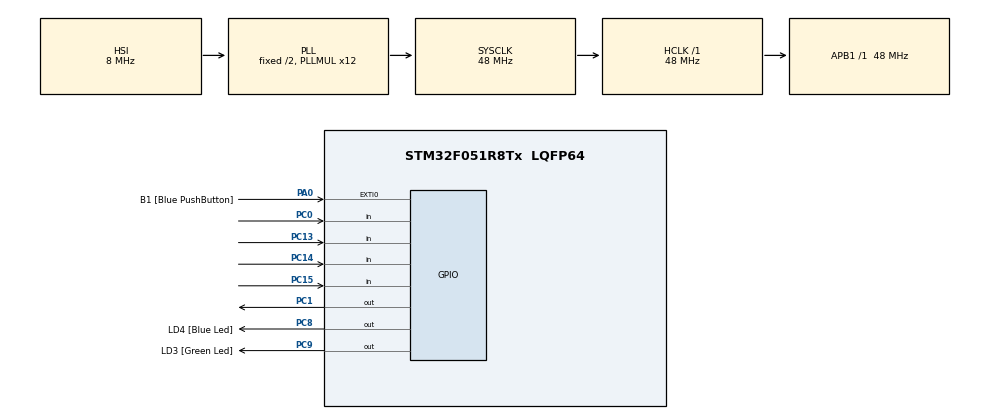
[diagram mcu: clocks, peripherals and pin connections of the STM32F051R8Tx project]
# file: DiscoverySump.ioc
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FREERTOS.Tasks01=defaultTask,0,128,StartDefaultTask,Default,NULL,Dynamic,NULL,NULL;sumpPumpTask,0,128,sumpTask,Default,NULL,Dynamic,NULL,NULL
Mcu.Family=STM32F0
Mcu.Name=STM32F051R8Tx
Mcu.Package=LQFP64
NVIC.TIM2_IRQn=true\:0\:0\:false\:false\:true\:false\:false\:true
NVIC.TimeBase=TIM2_IRQn
NVIC.TimeBaseIP=TIM2
PA0.GPIO_Label=B1 [Blue PushButton]
PA0.GPIO_ModeDefaultEXTI=GPIO_MODE_EVT_RISING
PA0.Signal=GPXTI0
PA13.GPIO_Label=SWDIO
PA13.Mode=Serial_Wire
PA13.Signal=SYS_SWDIO
PA14.GPIO_Label=SWCLK
PA14.Mode=Serial_Wire
PA14.Signal=SYS_SWCLK
PC0.GPIO_PuPd=GPIO_PULLUP
PC0.Signal=GPIO_Input
PC1.Signal=GPIO_Output
PC13.GPIO_PuPd=GPIO_PULLUP
PC13.Signal=GPIO_Input
PC14-OSC32_IN.GPIO_PuPd=GPIO_PULLUP
PC14-OSC32_IN.Signal=GPIO_Input
PC15-OSC32_OUT.GPIO_PuPd=GPIO_PULLUP
PC15-OSC32_OUT.Signal=GPIO_Input
PC8.GPIO_Label=LD4 [Blue Led]
PC8.Signal=GPIO_Output
PC9.GPIO_Label=LD3 [Green Led]
PC9.Signal=GPIO_Output
ProjectManager.HeapSize=0x200
ProjectManager.StackSize=0x400
ProjectManager.TargetToolchain=STM32CubeIDE
RCC.AHBFreq_Value=48000000
RCC.APB1Freq_Value=48000000
RCC.APB1TimFreq_Value=48000000
RCC.HCLKFreq_Value=48000000
RCC.PLLMUL=RCC_PLL_MUL12
RCC.SYSCLKFreq_VALUE=48000000
RCC.SYSCLKSource=RCC_SYSCLKSOURCE_PLLCLK
VP_FREERTOS_VS_CMSIS_V1.Mode=CMSIS_V1
VP_SYS_VS_tim2.Mode=TIM2
board=STM32F0DISCOVERY

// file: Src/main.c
/* USER CODE BEGIN Header */
/**
 ******************************************************************************
 * @file           : main.c
 * @brief          : Main program body
 ******************************************************************************
 * @attention
 *
 * <h2><center>&copy; Copyright (c) 2019 STMicroelectronics.
 * All rights reserved.</center></h2>
 *
 * This software component is licensed by ST under BSD 3-Clause license,
 * the "License"; You may not use this file except in compliance with the
 * License. You may obtain a copy of the License at:
 *                        opensource.org/licenses/BSD-3-Clause
 *
 * Copyright (c) 2019 Michael McCormack.
 * All rights reserved.
 *
 * This software component is licensed by Michael McCOrmack under BSD
 * 3-Clause license, the "License"; You may not use this file except in
 * compliance with the License.
 *
 * BSD 3-Clause license:
 *
 * Redistribution and use in source and binary forms, with or without
 * modification, are permitted provided that the following conditions are met:
 * 1. Redistributions of source code must retain the above copyright notice,
 *    this list of conditions and the following disclaimer.
 * 2. Redistributions in binary form must reproduce the above copyright
 *    notice, this list of conditions and the following disclaimer in the
 *    documentation and/or other materials provided with the distribution.
 * 3. Neither the name of the copyright holder nor the names of its
 *    contributors may be used to endorse or promote products derived from this
 *    software without specific prior written permission.
 * THIS SOFTWARE IS PROVIDED BY THE COPYRIGHT HOLDERS AND CONTRIBUTORS "AS IS"
 * AND ANY EXPRESS OR IMPLIED WARRANTIES, INCLUDING, BUT NOT LIMITED TO, THE
 * IMPLIED WARRANTIES OF MERCHANTABILITY AND FITNESS FOR A PARTICULAR PURPOSE
 * ARE DISCLAIMED. IN NO EVENT SHALL THE COPYRIGHT HOLDER OR CONTRIBUTORS BE
 * LIABLE FOR ANY DIRECT, INDIRECT, INCIDENTAL, SPECIAL, EXEMPLARY, OR
 * CONSEQUENTIAL DAMAGES (INCLUDING, BUT NOT LIMITED TO, PROCUREMENT OF
 * SUBSTITUTE GOODS OR SERVICES; LOSS OF USE, DATA, OR PROFITS; OR BUSINESS
 * INTERRUPTION) HOWEVER CAUSED AND ON ANY THEORY OF LIABILITY, WHETHER IN
 * CONTRACT, STRICT LIABILITY, OR TORT (INCLUDING NEGLIGENCE OR OTHERWISE)
 * ARISING IN ANY WAY OUT OF THE USE OF THIS SOFTWARE, EVEN IF ADVISED OF THE
 * POSSIBILITY OF SUCH DAMAGE.
 *
 *
 *
 * @details The function of this software is to control a sump pump which
 * removes water in the basement of my house.  As my house is built on granite
 * slab, there is not sufficient room to sink a normal 24" / 60cm deep sump
 * basin and commercial pump.  I have resorted to using a garden fountain
 * pump, a solid state relay, a STM32F0 discovery board, and, a set of level
 * sensors together with this firmware.
 *
 * Four sensors are used with this project at the moment which are two
 * pieces of the following hardware:
 *  1) Floats - these are mechanical devices that are moved by water and
 *     supply a switch closure.  Firmware assumes that these switches close
 *     to ground and provides a pullup on the input.
 *  2) CapSense - two electrodes are fixed in the Z dimension and when water
 *     covers them the capacitance between them changes.  These sensors used
 *     at time of publication provide push-pull output so no pullup is
 *     required, however, the code does provide one so that in the future
 *     if an open collector version is used the change might be simpler.
 *
 * Two pieces of each type of sensor are used, one of each type for a high
 * water turn on sensor and one for low level turn off.  The use of two types
 * of sensors was due to my skepticism about the reliability of these devices.
 *
 * While it is completely unnecessary for this project, I have chosen to use
 * FreeRTOS for this project.  I do a lot of work with it in my day job and
 * wanted to see how easy / hard it is to use it with the ST development IDE.
 * So far, all I can say is the obfuscation on the FreeRTOS system under a
 * CMSIS wrapper is not a feature, at least for me.
 *
 ******************************************************************************
 */
/* USER CODE END Header */

#include "main.h"
#include "cmsis_os.h"

/* USER CODE BEGIN PTD */
#define floatLevelHigh        ( HAL_GPIO_ReadPin(GPIOC, GPIO_PIN_13) )
#define floatLevelLow         ( HAL_GPIO_ReadPin(GPIOC, GPIO_PIN_14) )
#define capSenseHigh          ( HAL_GPIO_ReadPin(GPIOC, GPIO_PIN_15) )
#define capSenseLow           ( HAL_GPIO_ReadPin(GPIOC, GPIO_PIN_0)  )

#define FLOAT_UP              GPIO_PIN_SET
#define FLOAT_DOWN            GPIO_PIN_RESET
#define CAPSENSE_UP           GPIO_PIN_RESET
#define CAPSENSE_DOWN         GPIO_PIN_SET

#define sumpMotorControl(X)   HAL_GPIO_WritePin(GPIOC, GPIO_PIN_1, X)
#define PUMP_ON               GPIO_PIN_RESET
#define PUMP_OFF              GPIO_PIN_SET

#define greenLEDControl(X)    HAL_GPIO_WritePin(GPIOC, GPIO_PIN_9, X)
#define blueLEDControl(X)     HAL_GPIO_WritePin(GPIOC, GPIO_PIN_8, X)
#define LED_ON                GPIO_PIN_RESET
#define LED_OFF               GPIO_PIN_SET

// Values used to decide when to turn on the pump, rectally derived
#define MAX_WATER_COUNT 2000
#define ON_WATER_COUNT  1999
#define OFF_WATER_COUNT 1000

/* USER CODE END PTD */

osThreadId defaultTaskHandle;
osThreadId sumpPumpTaskHandle;
/* USER CODE BEGIN PV */
static int levelByFLoat = 0;                    // FLoat style level sensor counter for debouncing
static int levelByCapacatance = 0;              // Capacitive fork sensor counter for debouncing
static GPIO_PinState pumpOn = PUMP_OFF;         // Pump SSR control signal as a variable for debugging
static int blueLEDOn = 0;                       // Blue LED "
static int greenLEDOn = 0;                      // Green LED "
static int ledCount = 0;                        // Counter to use for LED blink rate
/* USER CODE END PV */

void SystemClock_Config(void);
static void MX_GPIO_Init(void);
void StartDefaultTask(void const * argument);
void sumpTask(void const * argument);

int main(void)
{

  /* MCU Configuration--------------------------------------------------------*/

  /* Reset of all peripherals, Initializes the Flash interface and the Systick. */
  HAL_Init();

  /* Configure the system clock */
  SystemClock_Config();

  /* Initialize all configured peripherals */
  MX_GPIO_Init();

  /* Create the thread(s) */
  /* definition and creation of defaultTask */
  osThreadDef(defaultTask, StartDefaultTask, osPriorityNormal, 0, 128);
  defaultTaskHandle = osThreadCreate(osThread(defaultTask), NULL);

  /* definition and creation of sumpPumpTask */
  osThreadDef(sumpPumpTask, sumpTask, osPriorityNormal, 0, 128);
  sumpPumpTaskHandle = osThreadCreate(osThread(sumpPumpTask), NULL);

  /* Start scheduler */
  osKernelStart();

  /* We should never get here as control is now taken by the scheduler */

  /* Infinite loop */
  while (1)
  {

  }
}

void SystemClock_Config(void)
{
  RCC_OscInitTypeDef RCC_OscInitStruct = {0};
  RCC_ClkInitTypeDef RCC_ClkInitStruct = {0};

  /** Initializes the CPU, AHB and APB busses clocks
  */
  RCC_OscInitStruct.OscillatorType = RCC_OSCILLATORTYPE_HSI;
  RCC_OscInitStruct.HSIState = RCC_HSI_ON;
  RCC_OscInitStruct.HSICalibrationValue = RCC_HSICALIBRATION_DEFAULT;
  RCC_OscInitStruct.PLL.PLLState = RCC_PLL_ON;
  RCC_OscInitStruct.PLL.PLLSource = RCC_PLLSOURCE_HSI;
  RCC_OscInitStruct.PLL.PLLMUL = RCC_PLL_MUL12;
  RCC_OscInitStruct.PLL.PREDIV = RCC_PREDIV_DIV1;
  if (HAL_RCC_OscConfig(&RCC_OscInitStruct) != HAL_OK)
  {
    Error_Handler();
  }
  /** Initializes the CPU, AHB and APB busses clocks
  */
  RCC_ClkInitStruct.ClockType = RCC_CLOCKTYPE_HCLK|RCC_CLOCKTYPE_SYSCLK
                              |RCC_CLOCKTYPE_PCLK1;
  RCC_ClkInitStruct.SYSCLKSource = RCC_SYSCLKSOURCE_PLLCLK;
  RCC_ClkInitStruct.AHBCLKDivider = RCC_SYSCLK_DIV1;
  RCC_ClkInitStruct.APB1CLKDivider = RCC_HCLK_DIV1;

  if (HAL_RCC_ClockConfig(&RCC_ClkInitStruct, FLASH_LATENCY_1) != HAL_OK)
  {
    Error_Handler();
  }
}

static void MX_GPIO_Init(void)
{
  GPIO_InitTypeDef GPIO_InitStruct = {0};

  /* GPIO Ports Clock Enable */
  __HAL_RCC_GPIOC_CLK_ENABLE();
  __HAL_RCC_GPIOA_CLK_ENABLE();

  /*Configure GPIO pin Output Level */
  HAL_GPIO_WritePin(GPIOC, GPIO_PIN_1|LD4_Pin|LD3_Pin, GPIO_PIN_RESET);

  /*Configure GPIO pins : PC13 PC14 PC15 PC0 */
  GPIO_InitStruct.Pin = GPIO_PIN_13|GPIO_PIN_14|GPIO_PIN_15|GPIO_PIN_0;
  GPIO_InitStruct.Mode = GPIO_MODE_INPUT;
  GPIO_InitStruct.Pull = GPIO_PULLUP;
  HAL_GPIO_Init(GPIOC, &GPIO_InitStruct);

  /*Configure GPIO pins : PC1 LD4_Pin LD3_Pin */
  GPIO_InitStruct.Pin = GPIO_PIN_1|LD4_Pin|LD3_Pin;
  GPIO_InitStruct.Mode = GPIO_MODE_OUTPUT_PP;
  GPIO_InitStruct.Pull = GPIO_NOPULL;
  GPIO_InitStruct.Speed = GPIO_SPEED_FREQ_LOW;
  HAL_GPIO_Init(GPIOC, &GPIO_InitStruct);

  /*Configure GPIO pin : B1_Pin */
  GPIO_InitStruct.Pin = B1_Pin;
  GPIO_InitStruct.Mode = GPIO_MODE_EVT_RISING;
  GPIO_InitStruct.Pull = GPIO_NOPULL;
  HAL_GPIO_Init(B1_GPIO_Port, &GPIO_InitStruct);

}

/* USER CODE BEGIN 4 */
/**
 * @brief  Reads the value of the level detectors.
 * @fn ReadWaterLevel( void )
 * @param  argument: Not used
 * @retval None
 * @details The ReadWaterLevel function reads four GPIO pins and debounces
 * them using a set of up / down counters implemented in software.
 */
void ReadWaterLevel(void)
{
  int flh,fll,csh,csl;
  flh = floatLevelHigh;
  fll = floatLevelLow;
  csh = capSenseHigh;
  csl = capSenseLow;

  if ((FLOAT_UP == floatLevelHigh) && (FLOAT_UP == floatLevelLow))
  {
    ++levelByFLoat;
  }
  else if (FLOAT_UP != floatLevelLow)
  {
    --levelByFLoat;
  }

  if ((CAPSENSE_UP == capSenseHigh) && (CAPSENSE_UP == capSenseLow))
  {
    ++levelByCapacatance;
  }
  else if (CAPSENSE_UP != capSenseLow)
  {
    --levelByCapacatance;
  }
  return;
}

/**
 * @brief  Determines if the pump should be on or off
 * @fn EvaluateLevelCounts( void )
 * @param  argument: Not used
 * @retval sump pump control in GPIO_PinState
 * @details The EvaluateLevelCounts function debounces and range limits the
 * counters built from the inputs.
 */
GPIO_PinState EvaluateLevelCounts(void)
{
  GPIO_PinState pumpState;

  // First bound the counters
  if (0 > levelByFLoat)
  {
    levelByFLoat = 0;
  }
  if (MAX_WATER_COUNT < levelByFLoat)
  {
    levelByFLoat = MAX_WATER_COUNT;
  }

  if (0 > levelByCapacatance)
  {
    levelByCapacatance = 0;
  }
  if (MAX_WATER_COUNT < levelByCapacatance)
  {
    levelByCapacatance = MAX_WATER_COUNT;
  }

  // Use the counters to decide if the pump should be on or off
  if ((ON_WATER_COUNT < levelByFLoat) && (ON_WATER_COUNT < levelByCapacatance))
  {
    pumpState = PUMP_ON;
  }
  if ((OFF_WATER_COUNT > levelByFLoat) || (OFF_WATER_COUNT > levelByCapacatance))
  {
    pumpState = PUMP_OFF;
  }

  return(pumpState);
}

/**
 * @brief Outputs system info on available LEDs, often changes during debug
 * @fn userInterface( void )
 * @param  argument: Not used
 * @retval sump pump control in GPIO_PinState
 * @details The userInterface function does its best to signal the software state
 * using the available LEDs.  It presently sends the motor SSR control signal
 * on the blue LED and just a "running" blink on the green LED.
 */
void userInterface(void)
{

  ++ledCount;
  if (512 <= ledCount)
  {
    ledCount = 0;
  }
  if (ledCount & 0x20)
  {
    greenLEDControl(LED_ON);
  }
  else
  {
    greenLEDControl(LED_OFF);
  }
  if (  ((0 != pumpOn) && (ledCount & 0x10))
     || ((0 == pumpOn) && (ledCount & 0x40)))
  {
    blueLEDControl(LED_ON);
  }
  else
  {
    blueLEDControl(LED_OFF);
  }

  return;
}
/* USER CODE END 4 */

void StartDefaultTask(void const * argument)
{

  for (;;)
  {
    osDelay(1);
  }
}

void sumpTask(void const * argument)
{
  /* USER CODE BEGIN sumpTask */

  greenLEDControl(LED_ON);

  /* Infinite loop */
  for (;;)
  {

    ReadWaterLevel();

    pumpOn = EvaluateLevelCounts();

    sumpMotorControl(pumpOn);

    userInterface();

    osDelay(5);
  }
  /* USER CODE END sumpTask */
}

void HAL_TIM_PeriodElapsedCallback(TIM_HandleTypeDef *htim)
{
  if (htim->Instance == TIM2) {
    HAL_IncTick();
  }
}

void Error_Handler(void)
{
}

/************************ (C) COPYRIGHT STMicroelectronics *****END OF FILE****/
